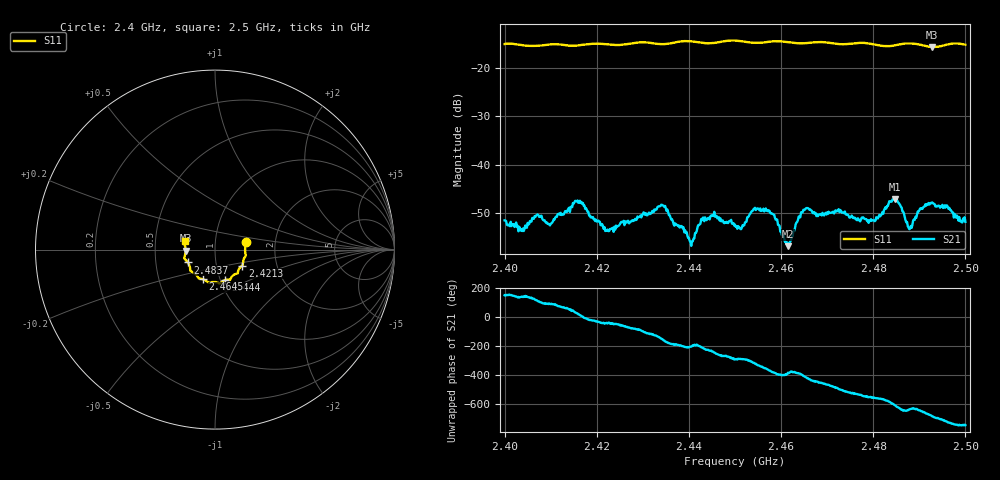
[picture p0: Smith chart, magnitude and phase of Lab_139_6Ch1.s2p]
# Hz S RI R 50
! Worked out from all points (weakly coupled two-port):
!   601 points, 2.4 GHz to 2.5 GHz, reference 50 ohm
!   highest |S21| = -47.02 dB at 2.4847 GHz (marker M1); lowest = -56.8 dB at 2.4615 GHz (marker M2)
!   lowest |S11| = -15.7 dB at 2.4928 GHz (marker M3), VSWR 1.39, Z = 36 - j0.39 ohm
!   |S11| at or under -10 dB: start of sweep to end of sweep
!   S12 and S22 are empty: the file has one direction only
!   S11 on the Smith chart (normalised r, x): 2.4 GHz: 1.41, +0.12; 2.4213 GHz: 1.33, -0.25; 2.444 GHz: 1.06, -0.37; 2.4645 GHz: 0.83, -0.29; 2.4837 GHz: 0.73, -0.11; 2.5 GHz: 0.71, +0.07
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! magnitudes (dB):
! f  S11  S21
! 2.4 GHz  -15.1  -51.4
! 2.4038 GHz  -15.3  -53.6
! 2.4073 GHz  -15.5  -50.4
! 2.4098 GHz  -15.2  -52.5
! 2.4167 GHz  -15.3  -47.7
! 2.4213 GHz  -15.1  -52.6
! 2.4333 GHz  -15.1  -48.6
! 2.4348 GHz  -15.1  -48.5
! 2.4403 GHz  -14.5  -55.9
! 2.444 GHz  -15.0  -51.2
! 2.45 GHz  -14.4  -52.3
! 2.457 GHz  -14.7  -49.3
! 2.4615 GHz  -14.7  -56.8
! 2.4645 GHz  -15.0  -49.8
! 2.4667 GHz  -14.8  -49.5
! 2.4795 GHz  -15.1  -51.2
! 2.4833 GHz  -15.6  -48.0
! 2.4837 GHz  -15.5  -47.5
! 2.4847 GHz  -15.4  -47.0
! 2.488 GHz  -15.0  -53.1
! 2.4928 GHz  -15.7  -47.8
! 2.5 GHz  -15.3  -51.7
